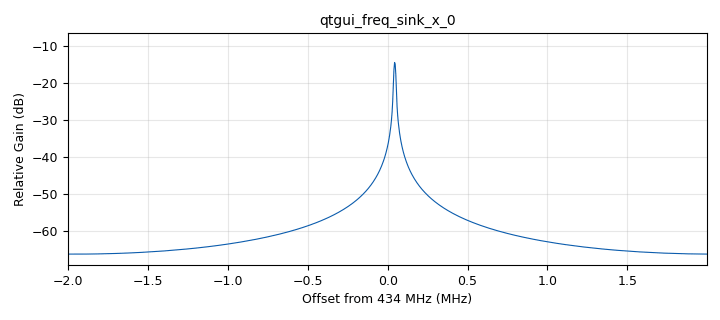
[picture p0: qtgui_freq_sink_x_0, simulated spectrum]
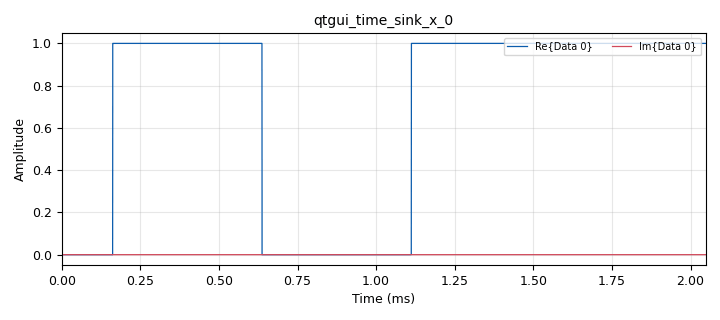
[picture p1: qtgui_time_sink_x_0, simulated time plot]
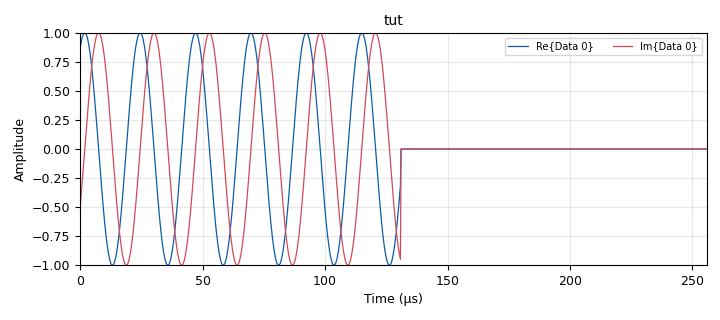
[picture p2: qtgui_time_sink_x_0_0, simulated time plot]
options:
  parameters:
    generate_options: qt_gui
    id: test
    output_language: python
    title: Not titled yet
  states: {}

blocks:
- name: center_freq
  id: variable
  parameters:
    value: 434e6
  states: {}
- name: samp_rate
  id: variable
  parameters:
    value: 4e6
  states: {}
- name: sps
  id: variable
  parameters:
    value: '1900'
  states: {}
- name: analog_sig_source_x_0
  id: analog_sig_source_x
  parameters:
    amp: '1'
    freq: 44.2047119141e3
    offset: '0'
    phase: '0'
    samp_rate: samp_rate
    type: complex
    waveform: analog.GR_COS_WAVE
  states: {}
- name: blocks_complex_to_mag_0
  id: blocks_complex_to_mag
  parameters: {}
  states: {}
- name: blocks_keep_one_in_n_0
  id: blocks_keep_one_in_n
  parameters:
    n: sps
    type: float
  states: {}
- name: blocks_multiply_xx_0
  id: blocks_multiply_xx
  parameters:
    type: complex
  states: {}
- name: blocks_repeat_0
  id: blocks_repeat
  parameters:
    interp: sps
    type: complex
  states: {}
- name: blocks_threshold_ff_0
  id: blocks_threshold_ff
  parameters:
    high: '100'
    init: '0'
    low: '-100'
  states: {}
- name: blocks_vector_source_x_0
  id: blocks_vector_source_x
  parameters:
    repeat: 'True'
    type: complex
    vector: '[1,0,0,1,0,1,1,0,1,1,0,1,1,0,0,1,0,1,1,0,0,1,0,1,1,0,1,1,0,1,1,0,1,1,0,1,1,0,1,1,0,1,1,0,1,1,0,1,1,0,1,1,0,1,1,0,1,1,0,0,1,0,1,1,0,1,1,0,1,1,0,1,1,0,]'
  states: {}
- name: qtgui_freq_sink_x_0
  id: qtgui_freq_sink_x
  parameters:
    autoscale: 'True'
    bw: samp_rate
    fc: center_freq
    fftsize: '1024'
    type: complex
  states: {}
- name: qtgui_time_sink_x_0
  id: qtgui_time_sink_x
  parameters:
    autoscale: 'True'
    size: '8192'
    srate: samp_rate
    type: complex
  states: {}
- name: qtgui_time_sink_x_0_0
  id: qtgui_time_sink_x
  parameters:
    name: '"tut"'
    size: '1024'
    srate: samp_rate
    type: complex
    update_time: '0.1'
  states: {}
- name: qtgui_time_sink_x_1
  id: qtgui_time_sink_x
  parameters:
    name: '"rat"'
    size: '1024'
    srate: samp_rate
    type: float
  states: {}
- name: soapy_hackrf_sink_0
  id: soapy_hackrf_sink
  parameters:
    amp: 'True'
    center_freq: center_freq
    samp_rate: samp_rate
    type: fc32
    vga: '40'
  states: {}

connections:
- [analog_sig_source_x_0, '0', blocks_multiply_xx_0, '1']
- [blocks_complex_to_mag_0, '0', blocks_threshold_ff_0, '0']
- [blocks_keep_one_in_n_0, '0', qtgui_time_sink_x_1, '0']
- [blocks_multiply_xx_0, '0', blocks_complex_to_mag_0, '0']
- [blocks_multiply_xx_0, '0', qtgui_freq_sink_x_0, '0']
- [blocks_multiply_xx_0, '0', qtgui_time_sink_x_0_0, '0']
- [blocks_multiply_xx_0, '0', soapy_hackrf_sink_0, '0']
- [blocks_repeat_0, '0', blocks_multiply_xx_0, '0']
- [blocks_repeat_0, '0', qtgui_time_sink_x_0, '0']
- [blocks_threshold_ff_0, '0', blocks_keep_one_in_n_0, '0']
- [blocks_vector_source_x_0, '0', blocks_repeat_0, '0']

metadata:
  file_format: 1
  grc_version: 3.10.10.0
